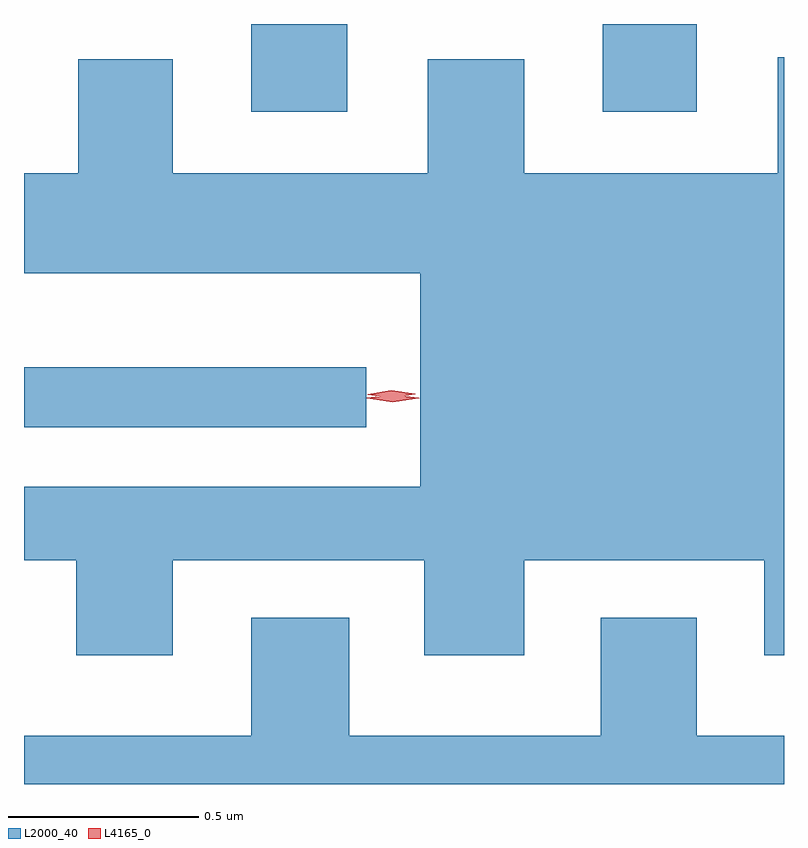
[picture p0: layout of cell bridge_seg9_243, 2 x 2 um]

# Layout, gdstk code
import gdstk
lib = gdstk.Library(unit=1e-6, precision=1e-09)
def R(c, l, rs):  # rectangles x0, y0, x1, y1
    for r in rs: c.add(gdstk.rectangle(r[:2], r[2:], *l))
def P(c, l, *ps):  # polygons
    for p in ps: c.add(gdstk.Polygon(p, *l))
L2000_40 = (2000, 40)
L4165_0 = (4165, 0)

bridge_seg9_243 = lib.new_cell('bridge_seg9_243')
R(bridge_seg9_243, L2000_40, [(1321.148,1984.016,1322.048,1984.174), (1321.746,1984.846,1321.999,1985.077), (1322.671,1984.846,1322.919,1985.077)])
P(bridge_seg9_243, L2000_40, [(1321.539,1983.666),(1322.201,1983.666),(1322.201,1983.416),(1322.464,1983.416),(1322.464,1983.666),(1323.096,1983.666),(1323.096,1983.416),(1323.148,1983.416),(1323.148,1984.989),(1323.131,1984.989),(1323.131,1984.684),(1322.464,1984.684),(1322.464,1984.984),(1322.211,1984.984),(1322.211,1984.684),(1321.539,1984.684),(1321.539,1984.984),(1321.291,1984.984),(1321.291,1984.684),(1321.148,1984.684),(1321.148,1984.421),(1322.191,1984.421),(1322.191,1983.859),(1321.148,1983.859),(1321.148,1983.666),(1321.286,1983.666),(1321.286,1983.416),(1321.539,1983.416)],
  [(1323.148,1983.204),(1322.919,1983.204),(1322.919,1983.514),(1322.666,1983.514),(1322.666,1983.204),(1322.004,1983.204),(1322.004,1983.514),(1321.746,1983.514),(1321.746,1983.204),(1321.148,1983.204),(1321.148,1983.077),(1323.148,1983.077)])
P(bridge_seg9_243, L4165_0, [(1322.118,1984.082),(1322.05,1984.092),(1322.05,1984.092),(1322.05,1984.093),(1322.119,1984.102),(1322.187,1984.093),(1322.188,1984.092),(1322.187,1984.092)],
  [(1322.116,1984.093),(1322.053,1984.102),(1322.053,1984.103),(1322.053,1984.103),(1322.115,1984.113),(1322.177,1984.104),(1322.178,1984.103),(1322.177,1984.103)])

lib.write_gds('bridge_seg9_243.gds')
